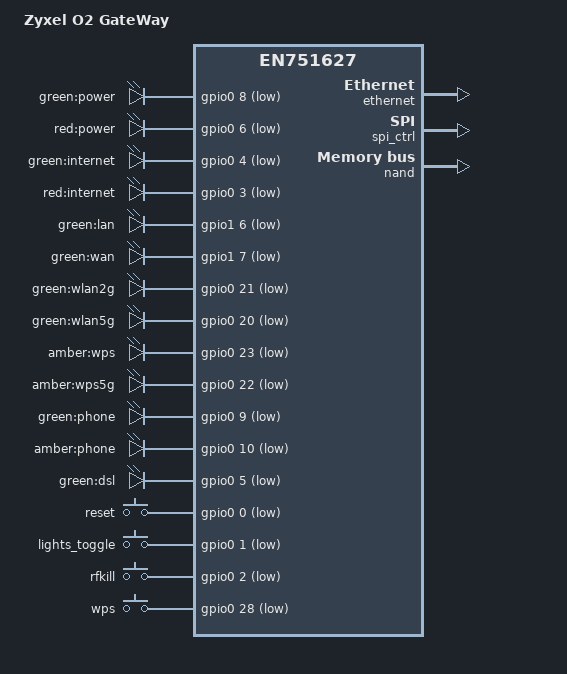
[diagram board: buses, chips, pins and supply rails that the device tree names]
#include "en751627_zyxel_o2-gateway-usb-probe.dts"
#include <dt-bindings/gpio/gpio.h>
#include <dt-bindings/input/input.h>

/ {
	model = "Zyxel O2 GateWay";
	compatible = "zyxel,o2-gateway-ethernet-probe", "zyxel,o2-gateway-ram",
		     "econet,en751627";

	aliases {
		led-boot = &led_power_green;
		led-failsafe = &led_power_red;
		led-running = &led_power_green;
		led-upgrade = &led_power_green;
	};

	leds {
		compatible = "gpio-leds";

		/* GPIO map from the OEM /userfs/led.conf (tcledctrl). */
		led_power_green: led-power-green {
			label = "green:power";
			gpios = <&gpio0 8 GPIO_ACTIVE_LOW>;
			default-state = "on";
		};

		led_power_red: led-power-red {
			label = "red:power";
			gpios = <&gpio0 6 GPIO_ACTIVE_LOW>;
			default-state = "off";
		};

		led_internet_green: led-internet-green {
			label = "green:internet";
			gpios = <&gpio0 4 GPIO_ACTIVE_LOW>;
			default-state = "off";
		};

		led_internet_red: led-internet-red {
			label = "red:internet";
			gpios = <&gpio0 3 GPIO_ACTIVE_LOW>;
			default-state = "off";
		};

		led_lan_green: led-lan-green {
			label = "green:lan";
			gpios = <&gpio1 6 GPIO_ACTIVE_LOW>;
			default-state = "off";
		};

		led_wan_green: led-wan-green {
			label = "green:wan";
			gpios = <&gpio1 7 GPIO_ACTIVE_LOW>;
			default-state = "off";
		};

		led_wlan2g_green: led-wlan2g-green {
			label = "green:wlan2g";
			gpios = <&gpio0 21 GPIO_ACTIVE_LOW>;
			default-state = "off";
		};

		led_wlan5g_green: led-wlan5g-green {
			label = "green:wlan5g";
			gpios = <&gpio0 20 GPIO_ACTIVE_LOW>;
			default-state = "off";
		};

		led_wps_amber: led-wps-amber {
			label = "amber:wps";
			gpios = <&gpio0 23 GPIO_ACTIVE_LOW>;
			default-state = "off";
		};

		led_wps5g_amber: led-wps5g-amber {
			label = "amber:wps5g";
			gpios = <&gpio0 22 GPIO_ACTIVE_LOW>;
			default-state = "off";
		};

		led_phone_green: led-phone-green {
			label = "green:phone";
			gpios = <&gpio0 9 GPIO_ACTIVE_LOW>;
			default-state = "off";
		};

		led_phone_amber: led-phone-amber {
			label = "amber:phone";
			gpios = <&gpio0 10 GPIO_ACTIVE_LOW>;
			default-state = "off";
		};

		led_dsl_green: led-dsl-green {
			label = "green:dsl";
			gpios = <&gpio0 5 GPIO_ACTIVE_LOW>;
			default-state = "off";
		};
	};

	keys {
		compatible = "gpio-keys-polled";
		poll-interval = <100>;

		button-reset {
			label = "reset";
			linux,code = <KEY_RESTART>;
			gpios = <&gpio0 0 GPIO_ACTIVE_LOW>;
		};

		button-led {
			label = "lights_toggle";
			linux,code = <KEY_LIGHTS_TOGGLE>;
			gpios = <&gpio0 1 GPIO_ACTIVE_LOW>;
		};

		button-rfkill {
			label = "rfkill";
			linux,code = <KEY_RFKILL>;
			gpios = <&gpio0 2 GPIO_ACTIVE_LOW>;
		};

		button-wps {
			label = "wps";
			linux,code = <KEY_WPS_BUTTON>;
			gpios = <&gpio0 28 GPIO_ACTIVE_LOW>;
		};
	};

	switch@1fb58000 {
		compatible = "econet,en751627-switch";
		reg = <0x1fb58000 0x8000>;

		ports {
			#address-cells = <1>;
			#size-cells = <0>;

			port@0 {
				reg = <0>;
				label = "lan4";
				phy-mode = "internal";
			};

			port@1 {
				reg = <1>;
				label = "lan3";
				phy-mode = "internal";
			};

			port@2 {
				reg = <2>;
				label = "lan2";
				phy-mode = "internal";
			};

			port@3 {
				reg = <3>;
				label = "lan1";
				phy-mode = "internal";
			};

			port@4 {
				reg = <4>;
				label = "wan";
				phy-mode = "internal";
			};

			port@6 {
				reg = <6>;
				ethernet = <&gmac0>;
				phy-mode = "internal";

				fixed-link {
					speed = <1000>;
					full-duplex;
					pause;
				};
			};
		};
	};
};

&gpio0 {
	status = "okay";
};

&gpio1 {
	status = "okay";
};

&ethernet {
	reg = <0x1fb50000 0x8000>;
	status = "okay";
};

/*
 * The SNFI/DMA driver for en7581-snand is not buildable on ECONET. Use the
 * manual-mode controller driver like EN751221; it keeps the bootloader's
 * SPI clock setting.
 */
&spi_ctrl {
	compatible = "airoha,en7523-spi";
	reg = <0x1fa10000 0x140>;
	/delete-property/ clocks;
	/delete-property/ clock-names;
	status = "okay";
};

/*
 * Read-only raw NAND access for a full physical backup. Layout from the
 * OEM bootloader "mtd" command; the last 81 blocks are the bootloader's
 * BMT pool ("bmt pool size: 81"). The BMT driver is left out so every
 * partition maps 1:1 to physical blocks.
 */
&nand {
	status = "okay";

	partitions {
		compatible = "fixed-partitions";
		#address-cells = <1>;
		#size-cells = <1>;

		partition@0 {
			label = "bootloader";
			reg = <0x0 0x40000>;
			read-only;
		};

		partition@40000 {
			label = "romfile";
			reg = <0x40000 0x40000>;
			read-only;
		};

		partition@80000 {
			label = "tclinux";
			reg = <0x80000 0x2800000>;
			read-only;
		};

		partition@2880000 {
			label = "tclinux_slave";
			reg = <0x2880000 0x26a0000>;
			read-only;
		};

		partition@4f20000 {
			label = "wwan";
			reg = <0x4f20000 0x100000>;
			read-only;
		};

		partition@5020000 {
			label = "data";
			reg = <0x5020000 0x400000>;
			read-only;
		};

		partition@5420000 {
			label = "rom-d";
			reg = <0x5420000 0x100000>;
			read-only;
		};

		partition@5520000 {
			label = "misc";
			reg = <0x5520000 0x2000000>;
			read-only;
		};

		partition@7520000 {
			label = "reservearea";
			reg = <0x7520000 0xc0000>;
			read-only;
		};

		partition@75e0000 {
			label = "bmt_pool";
			reg = <0x75e0000 0xa20000>;
			read-only;
		};
	};
};
